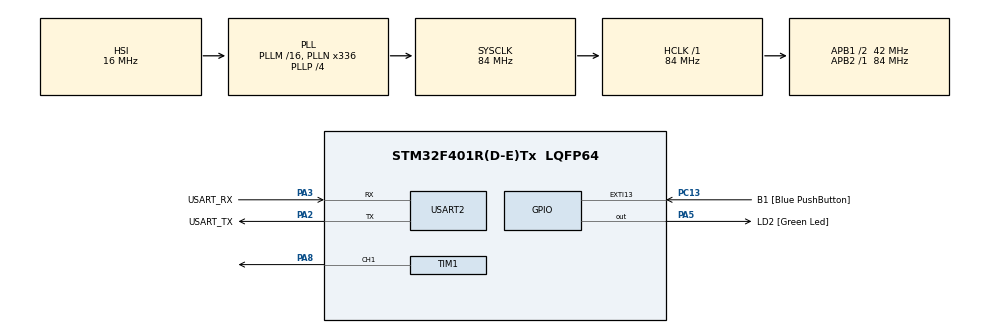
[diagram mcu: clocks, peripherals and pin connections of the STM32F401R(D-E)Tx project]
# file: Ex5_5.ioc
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Mcu.Family=STM32F4
Mcu.Name=STM32F401R(D-E)Tx
Mcu.Package=LQFP64
NVIC.PriorityGroup=NVIC_PRIORITYGROUP_0
PA13.GPIO_Label=TMS
PA13.Mode=Serial_Wire
PA13.Signal=SYS_JTMS-SWDIO
PA14.GPIO_Label=TCK
PA14.Mode=Serial_Wire
PA14.Signal=SYS_JTCK-SWCLK
PA2.GPIO_Label=USART_TX
PA2.GPIO_Mode=GPIO_MODE_AF_PP
PA2.GPIO_PuPd=GPIO_NOPULL
PA2.GPIO_Speed=GPIO_SPEED_FREQ_LOW
PA2.Mode=Asynchronous
PA2.Signal=USART2_TX
PA3.GPIO_Label=USART_RX
PA3.GPIO_Mode=GPIO_MODE_AF_PP
PA3.GPIO_PuPd=GPIO_NOPULL
PA3.GPIO_Speed=GPIO_SPEED_FREQ_LOW
PA3.Mode=Asynchronous
PA3.Signal=USART2_RX
PA5.GPIO_Label=LD2 [Green Led]
PA5.GPIO_Mode=GPIO_MODE_OUTPUT_PP
PA5.GPIO_PuPd=GPIO_NOPULL
PA5.GPIO_Speed=GPIO_SPEED_FREQ_LOW
PA5.Signal=GPIO_Output
PA8.Signal=S_TIM1_CH1
PB3.GPIO_Label=SWO
PB3.Signal=SYS_JTDO-SWO
PC13-ANTI_TAMP.GPIO_Label=B1 [Blue PushButton]
PC13-ANTI_TAMP.GPIO_ModeDefaultEXTI=GPIO_MODE_IT_FALLING
PC13-ANTI_TAMP.GPIO_PuPd=GPIO_NOPULL
PC13-ANTI_TAMP.Signal=GPXTI13
PC14-OSC32_IN.Mode=LSE-External-Oscillator
PC14-OSC32_IN.Signal=RCC_OSC32_IN
PC15-OSC32_OUT.Mode=LSE-External-Oscillator
PC15-OSC32_OUT.Signal=RCC_OSC32_OUT
PH0\ -\ OSC_IN.Mode=HSE-External-Clock-Source
PH0\ -\ OSC_IN.Signal=RCC_OSC_IN
PH1\ -\ OSC_OUT.Mode=HSE-External-Clock-Source
PH1\ -\ OSC_OUT.Signal=RCC_OSC_OUT
ProjectManager.HeapSize=0x200
ProjectManager.StackSize=0x400
ProjectManager.TargetToolchain=STM32CubeIDE
RCC.48MHZClocksFreq_Value=48000000
RCC.AHBFreq_Value=84000000
RCC.APB1CLKDivider=RCC_HCLK_DIV2
RCC.APB1Freq_Value=42000000
RCC.APB1TimFreq_Value=84000000
RCC.APB2Freq_Value=84000000
RCC.APB2TimFreq_Value=84000000
RCC.CortexFreq_Value=84000000
RCC.HCLKFreq_Value=84000000
RCC.HSE_VALUE=8000000
RCC.HSI_VALUE=16000000
RCC.PLLN=336
RCC.PLLP=RCC_PLLP_DIV4
RCC.PLLQ=7
RCC.SYSCLKFreq_VALUE=84000000
RCC.SYSCLKSource=RCC_SYSCLKSOURCE_PLLCLK
RCC.VCOOutputFreq_Value=336000000
SH.S_TIM1_CH1.0=TIM1_CH1,Output Compare1 CH1
TIM1.Channel-Output\ Compare1\ CH1=TIM_CHANNEL_1
TIM1.OCMode_1=TIM_OCMODE_TOGGLE
TIM1.Prescaler=42
USART2.VirtualMode=VM_ASYNC
VP_TIM1_VS_ClockSourceINT.Mode=Internal
board=NUCLEO-F401RE

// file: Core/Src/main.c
/* USER CODE BEGIN Header */
/**
  ******************************************************************************
  * @file           : main.c
  * @brief          : Main program body
  ******************************************************************************
  * @attention
  *
  * Copyright (c) 2026 STMicroelectronics.
  * All rights reserved.
  *
  * This software is licensed under terms that can be found in the LICENSE file
  * in the root directory of this software component.
  * If no LICENSE file comes with this software, it is provided AS-IS.
  *
  ******************************************************************************
  */
/* USER CODE END Header */
#include "main.h"

/* USER CODE BEGIN PTD */
typedef enum {NONE, DO, DO_S, RE, RE_S, MI, FA,
              FA_S, SOL, SOL_S, LA, LA_S, TI, DOH
}NOTE;

/* USER CODE END PTD */

TIM_HandleTypeDef htim1;

UART_HandleTypeDef huart2;

/* USER CODE BEGIN PV */
uint16_t note[14] = {0, 3822, 3608, 3405, 3214, 3034, 2863,
                     2703, 2551, 2408, 2273, 2145, 2025, 1911};
uint16_t nn[] = {SOL, SOL, LA, LA, SOL, SOL, MI,
                 SOL, SOL, MI, MI, RE, NONE,
                 SOL, SOL, LA, LA, SOL, SOL, MI,
                 SOL, MI, RE, MI, DO, NONE};
uint16_t beats[] = {400, 400, 400, 400, 400, 400, 800,
                   400, 400, 400, 400, 800, 800,
                   400, 400, 400, 400, 400, 400, 800,
                   400, 400, 400, 400, 800, 800,
};
uint16_t size = 26;
/* USER CODE END PV */

void SystemClock_Config(void);
static void MX_GPIO_Init(void);
static void MX_USART2_UART_Init(void);
static void MX_TIM1_Init(void);

int main(void)
{
  /* USER CODE BEGIN 1 */
  int i = 0;
  /* USER CODE END 1 */

  /* MCU Configuration--------------------------------------------------------*/

  /* Reset of all peripherals, Initializes the Flash interface and the Systick. */
  HAL_Init();

  /* Configure the system clock */
  SystemClock_Config();

  /* Initialize all configured peripherals */
  MX_GPIO_Init();
  MX_USART2_UART_Init();
  MX_TIM1_Init();
  /* USER CODE BEGIN 2 */
  HAL_TIM_OC_Start(&htim1, TIM_CHANNEL_1);
  /* USER CODE END 2 */

  /* Infinite loop */
  /* USER CODE BEGIN WHILE */
  while (1)
  {
	  for(i = 0 ; i < size ; i++)
	  {
		  __HAL_TIM_SET_AUTORELOAD(&htim1, note[nn[i]]);
		  HAL_TIM_OC_Start(&htim1, TIM_CHANNEL_1);
		  HAL_Delay(beats[i]);
		  HAL_TIM_OC_Stop(&htim1, TIM_CHANNEL_1);
		  HAL_Delay(100);
	  }
	  HAL_Delay(3000);

    /* USER CODE END WHILE */

  }
}

void SystemClock_Config(void)
{
  RCC_OscInitTypeDef RCC_OscInitStruct = {0};
  RCC_ClkInitTypeDef RCC_ClkInitStruct = {0};

  /** Configure the main internal regulator output voltage
  */
  __HAL_RCC_PWR_CLK_ENABLE();
  __HAL_PWR_VOLTAGESCALING_CONFIG(PWR_REGULATOR_VOLTAGE_SCALE2);

  /** Initializes the RCC Oscillators according to the specified parameters
  * in the RCC_OscInitTypeDef structure.
  */
  RCC_OscInitStruct.OscillatorType = RCC_OSCILLATORTYPE_HSI;
  RCC_OscInitStruct.HSIState = RCC_HSI_ON;
  RCC_OscInitStruct.HSICalibrationValue = RCC_HSICALIBRATION_DEFAULT;
  RCC_OscInitStruct.PLL.PLLState = RCC_PLL_ON;
  RCC_OscInitStruct.PLL.PLLSource = RCC_PLLSOURCE_HSI;
  RCC_OscInitStruct.PLL.PLLM = 16;
  RCC_OscInitStruct.PLL.PLLN = 336;
  RCC_OscInitStruct.PLL.PLLP = RCC_PLLP_DIV4;
  RCC_OscInitStruct.PLL.PLLQ = 7;
  if (HAL_RCC_OscConfig(&RCC_OscInitStruct) != HAL_OK)
  {
    Error_Handler();
  }

  /** Initializes the CPU, AHB and APB buses clocks
  */
  RCC_ClkInitStruct.ClockType = RCC_CLOCKTYPE_HCLK|RCC_CLOCKTYPE_SYSCLK
                              |RCC_CLOCKTYPE_PCLK1|RCC_CLOCKTYPE_PCLK2;
  RCC_ClkInitStruct.SYSCLKSource = RCC_SYSCLKSOURCE_PLLCLK;
  RCC_ClkInitStruct.AHBCLKDivider = RCC_SYSCLK_DIV1;
  RCC_ClkInitStruct.APB1CLKDivider = RCC_HCLK_DIV2;
  RCC_ClkInitStruct.APB2CLKDivider = RCC_HCLK_DIV1;

  if (HAL_RCC_ClockConfig(&RCC_ClkInitStruct, FLASH_LATENCY_2) != HAL_OK)
  {
    Error_Handler();
  }
}

static void MX_TIM1_Init(void)
{

  TIM_ClockConfigTypeDef sClockSourceConfig = {0};
  TIM_MasterConfigTypeDef sMasterConfig = {0};
  TIM_OC_InitTypeDef sConfigOC = {0};
  TIM_BreakDeadTimeConfigTypeDef sBreakDeadTimeConfig = {0};

  htim1.Instance = TIM1;
  htim1.Init.Prescaler = 42;
  htim1.Init.CounterMode = TIM_COUNTERMODE_UP;
  htim1.Init.Period = 65535;
  htim1.Init.ClockDivision = TIM_CLOCKDIVISION_DIV1;
  htim1.Init.RepetitionCounter = 0;
  htim1.Init.AutoReloadPreload = TIM_AUTORELOAD_PRELOAD_DISABLE;
  if (HAL_TIM_Base_Init(&htim1) != HAL_OK)
  {
    Error_Handler();
  }
  sClockSourceConfig.ClockSource = TIM_CLOCKSOURCE_INTERNAL;
  if (HAL_TIM_ConfigClockSource(&htim1, &sClockSourceConfig) != HAL_OK)
  {
    Error_Handler();
  }
  if (HAL_TIM_OC_Init(&htim1) != HAL_OK)
  {
    Error_Handler();
  }
  sMasterConfig.MasterOutputTrigger = TIM_TRGO_RESET;
  sMasterConfig.MasterSlaveMode = TIM_MASTERSLAVEMODE_DISABLE;
  if (HAL_TIMEx_MasterConfigSynchronization(&htim1, &sMasterConfig) != HAL_OK)
  {
    Error_Handler();
  }
  sConfigOC.OCMode = TIM_OCMODE_TOGGLE;
  sConfigOC.Pulse = 0;
  sConfigOC.OCPolarity = TIM_OCPOLARITY_HIGH;
  sConfigOC.OCNPolarity = TIM_OCNPOLARITY_HIGH;
  sConfigOC.OCFastMode = TIM_OCFAST_DISABLE;
  sConfigOC.OCIdleState = TIM_OCIDLESTATE_RESET;
  sConfigOC.OCNIdleState = TIM_OCNIDLESTATE_RESET;
  if (HAL_TIM_OC_ConfigChannel(&htim1, &sConfigOC, TIM_CHANNEL_1) != HAL_OK)
  {
    Error_Handler();
  }
  sBreakDeadTimeConfig.OffStateRunMode = TIM_OSSR_DISABLE;
  sBreakDeadTimeConfig.OffStateIDLEMode = TIM_OSSI_DISABLE;
  sBreakDeadTimeConfig.LockLevel = TIM_LOCKLEVEL_OFF;
  sBreakDeadTimeConfig.DeadTime = 0;
  sBreakDeadTimeConfig.BreakState = TIM_BREAK_DISABLE;
  sBreakDeadTimeConfig.BreakPolarity = TIM_BREAKPOLARITY_HIGH;
  sBreakDeadTimeConfig.AutomaticOutput = TIM_AUTOMATICOUTPUT_DISABLE;
  if (HAL_TIMEx_ConfigBreakDeadTime(&htim1, &sBreakDeadTimeConfig) != HAL_OK)
  {
    Error_Handler();
  }
  HAL_TIM_MspPostInit(&htim1);

}

static void MX_USART2_UART_Init(void)
{

  huart2.Instance = USART2;
  huart2.Init.BaudRate = 115200;
  huart2.Init.WordLength = UART_WORDLENGTH_8B;
  huart2.Init.StopBits = UART_STOPBITS_1;
  huart2.Init.Parity = UART_PARITY_NONE;
  huart2.Init.Mode = UART_MODE_TX_RX;
  huart2.Init.HwFlowCtl = UART_HWCONTROL_NONE;
  huart2.Init.OverSampling = UART_OVERSAMPLING_16;
  if (HAL_UART_Init(&huart2) != HAL_OK)
  {
    Error_Handler();
  }

}

static void MX_GPIO_Init(void)
{
  GPIO_InitTypeDef GPIO_InitStruct = {0};

  /* GPIO Ports Clock Enable */
  __HAL_RCC_GPIOC_CLK_ENABLE();
  __HAL_RCC_GPIOH_CLK_ENABLE();
  __HAL_RCC_GPIOA_CLK_ENABLE();
  __HAL_RCC_GPIOB_CLK_ENABLE();

  /*Configure GPIO pin Output Level */
  HAL_GPIO_WritePin(LD2_GPIO_Port, LD2_Pin, GPIO_PIN_RESET);

  /*Configure GPIO pin : B1_Pin */
  GPIO_InitStruct.Pin = B1_Pin;
  GPIO_InitStruct.Mode = GPIO_MODE_IT_FALLING;
  GPIO_InitStruct.Pull = GPIO_NOPULL;
  HAL_GPIO_Init(B1_GPIO_Port, &GPIO_InitStruct);

  /*Configure GPIO pin : LD2_Pin */
  GPIO_InitStruct.Pin = LD2_Pin;
  GPIO_InitStruct.Mode = GPIO_MODE_OUTPUT_PP;
  GPIO_InitStruct.Pull = GPIO_NOPULL;
  GPIO_InitStruct.Speed = GPIO_SPEED_FREQ_LOW;
  HAL_GPIO_Init(LD2_GPIO_Port, &GPIO_InitStruct);

}

void Error_Handler(void)
{
  __disable_irq();
  while (1)
  {
  }
}
